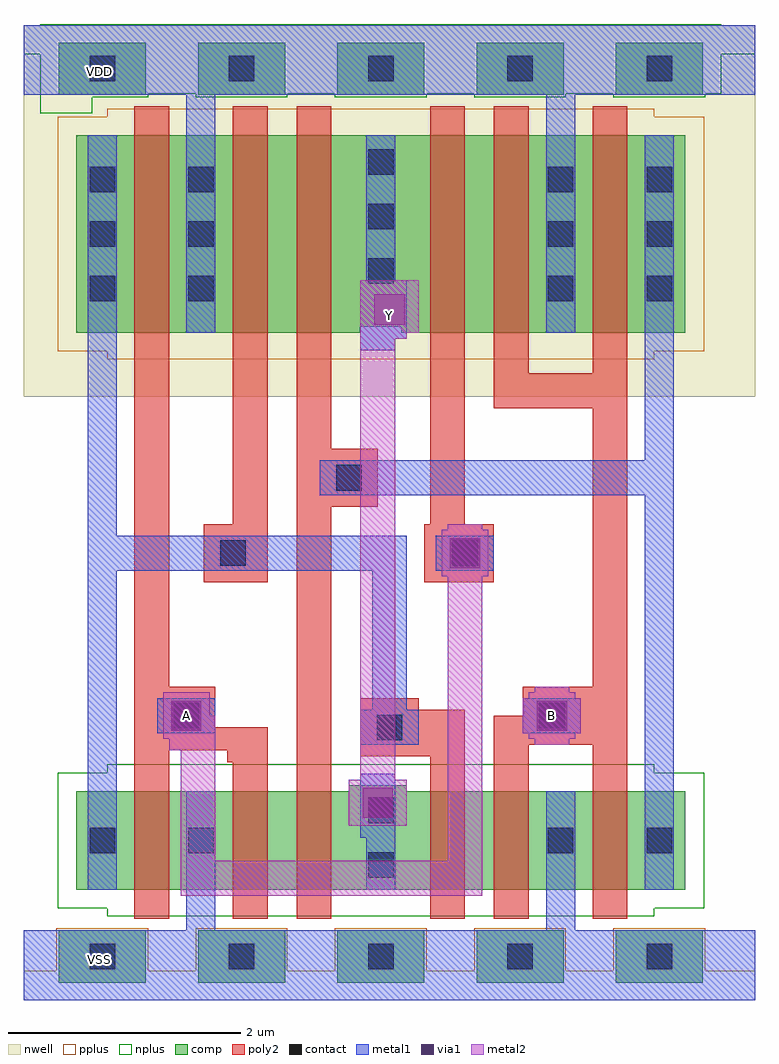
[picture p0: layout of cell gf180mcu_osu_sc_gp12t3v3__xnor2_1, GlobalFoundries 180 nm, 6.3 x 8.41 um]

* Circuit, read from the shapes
.subckt gf180mcu_osu_sc_gp12t3v3__xnor2_1 A B VDD VSS Y
XM1 VSS A n1 VSS nfet_03v3 w=0.85u l=0.3u
XM2 n2 A VSS VSS nfet_03v3 w=0.85u l=0.3u
XM3 Y n3 n2 VSS nfet_03v3 w=0.85u l=0.3u
XM4 n4 n1 Y VSS nfet_03v3 w=0.85u l=0.3u
XM5 VSS B n4 VSS nfet_03v3 w=0.85u l=0.3u
XM6 n3 B VSS VSS nfet_03v3 w=0.85u l=0.3u
XM7 VDD A n1 VDD pfet_03v3 w=1.7u l=0.3u
XM8 n5 n1 VDD VDD pfet_03v3 w=1.7u l=0.3u
XM9 Y n3 n5 VDD pfet_03v3 w=1.7u l=0.3u
XM10 n6 A Y VDD pfet_03v3 w=1.7u l=0.3u
XM11 VDD B n6 VDD pfet_03v3 w=1.7u l=0.3u
XM12 n3 B VDD VDD pfet_03v3 w=1.7u l=0.3u
.ends

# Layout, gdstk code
import gdstk
lib = gdstk.Library(unit=1e-6, precision=1e-09)
def R(c, l, rs):  # rectangles x0, y0, x1, y1
    for r in rs: c.add(gdstk.rectangle(r[:2], r[2:], *l))
def A(c, l, x, y, w, h, nx, ny, dx, dy):  # array of equal rectangles
    R(c, l, [(x+i*dx, y+j*dy, x+i*dx+w, y+j*dy+h) for i in range(nx) for j in range(ny)])
nwell = (21, 0)
comp = (22, 0)
poly2 = (30, 0)
pplus = (31, 0)
nplus = (32, 0)
contact = (33, 0)
metal1 = (34, 0)
via1 = (35, 0)
metal2 = (36, 0)

gf180mcu_osu_sc_gp12t3v3 = lib.new_cell('gf180mcu_osu_sc_gp12t3v3__xnor2_1')
R(gf180mcu_osu_sc_gp12t3v3, nwell, [(0,5.2,6.3,8.4)])
A(gf180mcu_osu_sc_gp12t3v3, comp, 0.3, 0.15, 0.75, 0.45, 5, 2, 1.2, 7.65)
R(gf180mcu_osu_sc_gp12t3v3, comp, [(0.45,0.95,5.7,1.8), (2.8,1.8,3.3,1.85), (0.45,5.75,2.9,5.8), (3.25,5.75,5.7,5.8), (0.45,5.8,5.7,7.45)])
R(gf180mcu_osu_sc_gp12t3v3, poly2, [(0.95,0.7,1.25,2.15), (1.8,0.7,2.1,2.05), (2.35,0.7,2.65,4.25), (3.5,0.7,3.8,2.1), (4.05,0.7,4.35,2.2), (4.9,0.7,5.2,2.2), (1.75,2.05,2.1,2.15), (2.9,2.1,3.8,2.5), (0.95,2.15,2.1,2.35), (4.05,2.2,5.2,2.45), (0.95,2.35,1.65,2.7), (4.3,2.45,5.2,2.7), (2.9,2.5,3.4,2.6), (0.95,2.7,1.25,7.7), (4.9,2.7,5.2,5.1), (1.55,3.6,2.1,4.1), (3.45,3.6,4.05,4.1), (1.8,4.1,2.1,7.7), (3.5,4.1,3.8,7.7), (2.35,4.25,3.05,4.75), (2.35,4.75,2.65,7.7), (4.05,5.1,5.2,5.4), (4.05,5.4,4.35,7.7), (4.9,5.4,5.2,7.7)])
A(gf180mcu_osu_sc_gp12t3v3, pplus, 0.28, 0.13, 0.79, 0.49, 5, 1, 1.2, 0)
R(gf180mcu_osu_sc_gp12t3v3, pplus, [(0,0,6.3,0.25), (0.72,5.52,5.43,5.59), (0.29,5.59,5.86,7.61), (0.72,7.61,5.43,7.68)])
A(gf180mcu_osu_sc_gp12t3v3, nplus, 1.48, 7.78, 0.79, 0.03, 4, 1, 1.2, 0)
R(gf180mcu_osu_sc_gp12t3v3, nplus, [(0.72,0.72,5.43,0.79), (0.29,0.79,5.86,1.96), (0.72,1.96,5.43,2.03), (0.14,7.64,0.59,7.78), (0.14,7.78,1.07,7.81), (0.14,7.81,6.01,8.15), (0,8.15,6.3,8.4), (0,8.15,6.3,8.4), (0.14,8.4,6.01,8.41)])
A(gf180mcu_osu_sc_gp12t3v3, contact, 0.565, 0.265, 0.22, 0.22, 5, 2, 1.2, 7.65)
A(gf180mcu_osu_sc_gp12t3v3, contact, 0.565, 6.02, 0.22, 0.22, 1, 3, 0, 0.47)
A(gf180mcu_osu_sc_gp12t3v3, contact, 1.415, 6.02, 0.22, 0.22, 1, 3, 0, 0.47)
A(gf180mcu_osu_sc_gp12t3v3, contact, 4.515, 6.02, 0.22, 0.22, 1, 3, 0, 0.47)
A(gf180mcu_osu_sc_gp12t3v3, contact, 5.365, 6.02, 0.22, 0.22, 1, 3, 0, 0.47)
A(gf180mcu_osu_sc_gp12t3v3, contact, 2.965, 6.17, 0.22, 0.22, 1, 3, 0, 0.47)
R(gf180mcu_osu_sc_gp12t3v3, contact, [(2.965,1.055,3.185,1.275), (0.565,1.265,0.785,1.485), (1.415,1.265,1.635,1.485), (4.515,1.265,4.735,1.485), (5.365,1.265,5.585,1.485), (2.965,1.525,3.185,1.745), (3.04,2.24,3.26,2.46), (1.29,2.34,1.51,2.56), (4.44,2.34,4.66,2.56), (1.69,3.74,1.91,3.96), (3.69,3.74,3.91,3.96), (2.69,4.39,2.91,4.61)])
R(gf180mcu_osu_sc_gp12t3v3, metal1, [(0,0,6.3,0.6), (1.4,0.6,1.65,1.8), (4.5,0.6,4.75,1.8), (0.55,0.95,0.8,3.7), (2.95,0.95,3.2,1.4), (5.35,0.95,5.6,4.35), (2.9,1.4,3.2,1.95), (2.9,2.2,3.4,2.5), (1.15,2.3,1.65,2.6), (4.3,2.3,4.8,2.6), (3,2.5,3.3,3.7), (0.55,3.7,3.3,4), (3.55,3.7,4.05,4), (0.55,4,0.8,7.45), (2.55,4.35,5.6,4.65), (5.35,4.65,5.6,7.45), (2.9,5.6,3.2,5.7), (2.9,5.7,3.3,6.2), (1.4,5.75,1.65,7.8), (4.5,5.75,4.75,7.8), (2.95,6.2,3.2,7.45), (0,7.8,6.3,8.4)])
R(gf180mcu_osu_sc_gp12t3v3, via1, [(2.92,1.57,3.18,1.83), (1.27,2.32,1.53,2.58), (4.42,2.32,4.68,2.58), (3.67,3.72,3.93,3.98), (3.02,5.82,3.28,6.08)])
R(gf180mcu_osu_sc_gp12t3v3, metal2, [(1.35,0.9,3.95,1.2), (1.35,1.2,1.65,2.15), (3.65,1.2,3.95,3.65), (2.8,1.5,3.3,1.9), (2.9,1.9,3.2,5.7), (1.25,2.15,1.65,2.25), (4.4,2.2,4.7,2.25), (1.2,2.25,1.65,2.45), (4.35,2.25,4.75,2.3), (4.3,2.3,4.8,2.6), (1.2,2.45,1.6,2.65), (4.35,2.6,4.75,2.65), (4.4,2.65,4.7,2.7), (3.6,3.65,4,4.05), (3.65,4.05,3.95,4.1), (2.9,5.7,3.3,5.75), (2.9,5.75,3.4,6.2)])
gf180mcu_osu_sc_gp12t3v3.add(gdstk.Label('A', (1.4,2.45), layer=36, texttype=10))
gf180mcu_osu_sc_gp12t3v3.add(gdstk.Label('B', (4.55,2.45), layer=36, texttype=10))
gf180mcu_osu_sc_gp12t3v3.add(gdstk.Label('Y', (3.15,5.9), layer=36, texttype=10))
gf180mcu_osu_sc_gp12t3v3.add(gdstk.Label('VDD', (0.65,8), layer=34, texttype=10))
gf180mcu_osu_sc_gp12t3v3.add(gdstk.Label('VSS', (0.65,0.35), layer=34, texttype=10))

lib.write_gds('gf180mcu_osu_sc_gp12t3v3__xnor2_1.gds')
